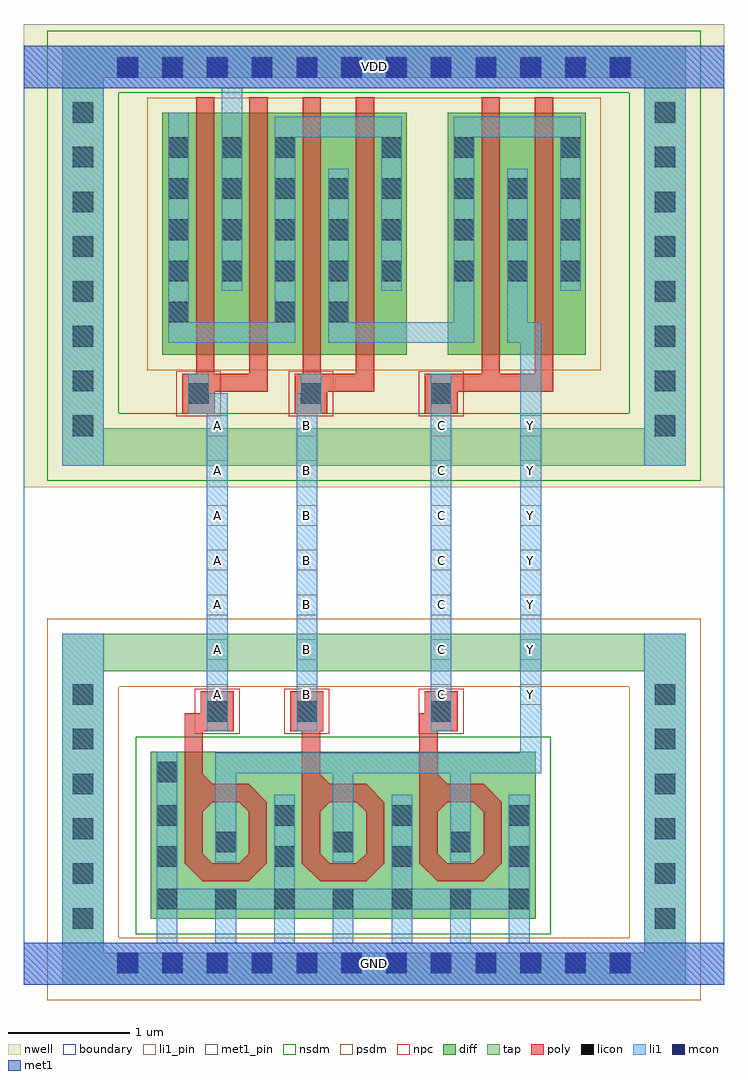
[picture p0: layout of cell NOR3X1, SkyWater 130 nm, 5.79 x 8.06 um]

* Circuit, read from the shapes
.subckt NOR3X1 A B C GND VDD Y
XM1 GND A Y GND sky130_fd_pr__nfet_01v8 w=2.56 l=0.1479
XM2 GND B Y GND sky130_fd_pr__nfet_01v8 w=2.56 l=0.148
XM3 GND C Y GND sky130_fd_pr__nfet_01v8 w=2.56 l=0.1446
XM4 VDD A n1 VDD sky130_fd_pr__pfet_01v8 w=2 l=0.15 m=2
XM5 n2 B n1 VDD sky130_fd_pr__pfet_01v8 w=2 l=0.15 m=2
XM6 Y C n2 VDD sky130_fd_pr__pfet_01v8 w=2 l=0.15 m=2
.ends

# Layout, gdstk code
from math import pi, radians
import gdstk
lib = gdstk.Library(unit=1e-6, precision=1e-09)
def R(c, l, rs):  # rectangles x0, y0, x1, y1
    for r in rs: c.add(gdstk.rectangle(r[:2], r[2:], *l))
def A(c, l, x, y, w, h, nx, ny, dx, dy):  # array of equal rectangles
    R(c, l, [(x+i*dx, y+j*dy, x+i*dx+w, y+j*dy+h) for i in range(nx) for j in range(ny)])
def P(c, l, *ps):  # polygons
    for p in ps: c.add(gdstk.Polygon(p, *l))
nwell = (64, 20)
diff = (65, 20)
tap = (65, 44)
poly = (66, 20)
licon = (66, 44)
li1_pin = (67, 16)
li1 = (67, 20)
mcon = (67, 44)
met1_pin = (68, 16)
met1 = (68, 20)
nsdm = (93, 44)
psdm = (94, 20)
npc = (95, 20)
boundary = (235, 4)

diff_ring_side = lib.new_cell('diff_ring_side')
R(diff_ring_side, nwell, [(-0.435,3.93,0.435,7.75)])
R(diff_ring_side, tap, [(-0.17,-0.17,0.17,2.72), (-0.17,4.11,0.17,7.57)])
A(diff_ring_side, licon, -0.085, 0.285, 0.17, 0.17, 1, 6, 0, 0.37)
A(diff_ring_side, licon, -0.085, 4.355, 0.17, 0.17, 1, 8, 0, 0.37)
R(diff_ring_side, li1, [(-0.17,-0.17,0.17,2.72), (-0.17,4.11,0.17,7.57)])
R(diff_ring_side, met1, [(-0.17,-0.17,0.17,0.17), (-0.17,7.23,0.17,7.57)])
R(diff_ring_side, nsdm, [(-0.295,3.985,0.295,7.695)])
R(diff_ring_side, psdm, [(-0.295,-0.295,0.295,2.845)])

nmos_top_trim1 = lib.new_cell('nmos_top_trim1')
R(nmos_top_trim1, diff, [(0,0,1.24,1.38)])
R(nmos_top_trim1, poly, [(0.43,0.31,0.81,0.46), (0.28,0.46,0.43,0.965), (0.81,0.46,0.96,0.965), (0.43,0.965,0.96,1.115), (0.81,1.115,0.96,1.545)])
P(nmos_top_trim1, poly, [(0.73,1.115),(0.81,1.115),(0.81,1.195)],
  [(0.28,0.965),(0.43,0.965),(0.43,1.115)],
  [(0.43,0.885),(0.43,0.965),(0.51,0.965)],
  [(0.73,0.965),(0.81,0.965),(0.81,0.885)],
  [(0.43,0.54),(0.43,0.46),(0.51,0.46)],
  [(0.73,0.46),(0.81,0.46),(0.81,0.54)],
  [(0.28,0.46),(0.43,0.46),(0.43,0.31)],
  [(0.81,0.31),(0.81,0.46),(0.96,0.46)])
A(nmos_top_trim1, licon, 0.05, 0.08, 0.17, 0.17, 3, 1, 0.485, 0)
R(nmos_top_trim1, licon, [(0.05,0.43,0.22,0.6), (1.02,0.43,1.19,0.6), (0.535,0.55,0.705,0.72), (0.05,0.77,0.22,0.94), (1.02,0.77,1.19,0.94), (1.02,1.13,1.19,1.3)])
R(nmos_top_trim1, li1, [(0.05,0,0.22,0.08), (1.02,0,1.19,0.08), (0.05,0.08,1.19,0.25), (0.05,0.25,0.22,1.02), (1.02,0.25,1.19,1.38), (0.535,0.47,0.705,0.805)])
R(nmos_top_trim1, nsdm, [(-0.125,-0.125,1.365,1.505)])

pmos2_1 = lib.new_cell('pmos2_1')
R(pmos2_1, nwell, [(0.26,-2.175,1.76,0.185)])
R(pmos2_1, diff, [(0.44,-1.995,1.58,0.005)])
R(pmos2_1, poly, [(0.72,-2.3,1.31,-2.15), (0.72,-2.15,0.87,0.135), (1.16,-2.15,1.31,0.135)])
A(pmos2_1, licon, 0.49, -1.385, 0.17, 0.17, 3, 3, 0.44, 0.34)
A(pmos2_1, li1, 0.49, -1.465, 0.17, 1.01, 3, 1, 0.44, 0)
R(pmos2_1, psdm, [(0.315,-2.12,1.705,0.13)])

poly_li1_contact = lib.new_cell('poly_li1_contact')
R(poly_li1_contact, poly, [(-0.16,-0.14,0.17,0.13)])
R(poly_li1_contact, licon, [(-0.08,-0.09,0.09,0.08)])
R(poly_li1_contact, li1, [(-0.16,-0.09,0.17,0.08)])
R(poly_li1_contact, npc, [(-0.18,-0.19,0.19,0.18)])

nmos_top_trim2 = lib.new_cell('nmos_top_trim2')
R(nmos_top_trim2, diff, [(0,0,1.24,1.38)])
R(nmos_top_trim2, poly, [(0.43,0.31,0.81,0.46), (0.28,0.46,0.43,0.89), (0.81,0.46,0.96,0.89), (0.28,0.89,0.435,0.965), (0.805,0.89,0.96,0.965), (0.43,0.965,0.96,1.115), (0.81,1.115,0.96,1.545)])
P(nmos_top_trim2, poly, [(0.73,1.115),(0.81,1.115),(0.81,1.195)],
  [(0.28,0.965),(0.43,0.965),(0.43,1.115)],
  [(0.435,0.89),(0.435,0.965),(0.51,0.965)],
  [(0.73,0.965),(0.805,0.965),(0.805,0.89)],
  [(0.43,0.54),(0.43,0.46),(0.51,0.46)],
  [(0.73,0.46),(0.81,0.46),(0.81,0.54)],
  [(0.28,0.46),(0.43,0.46),(0.43,0.31)],
  [(0.81,0.31),(0.81,0.46),(0.96,0.46)])
A(nmos_top_trim2, licon, 0.05, 0.08, 0.17, 0.17, 3, 1, 0.485, 0)
R(nmos_top_trim2, licon, [(0.05,0.43,0.22,0.6), (1.02,0.43,1.19,0.6), (0.535,0.55,0.705,0.72), (0.05,0.77,0.22,0.94), (1.02,0.77,1.19,0.94)])
R(nmos_top_trim2, li1, [(0.05,0,0.22,0.08), (1.02,0,1.19,0.08), (0.05,0.08,1.19,0.25), (0.05,0.25,0.22,1.025), (1.02,0.25,1.19,1.025), (0.535,0.47,0.705,0.805)])
R(nmos_top_trim2, nsdm, [(-0.125,-0.125,1.365,1.505)])

nor3x1_pcell = lib.new_cell('nor3x1_pcell')
R(nor3x1_pcell, nwell, [(0.435,3.93,4.765,7.75)])
A(nor3x1_pcell, diff, 0.705, 6.655, 0.17, 0.17, 3, 1, 0.44, 0)
R(nor3x1_pcell, diff, [(0.705,5.295,0.875,5.465), (1.585,5.295,1.755,5.465), (2.025,5.295,2.195,5.465), (2.465,6.655,2.635,6.825), (3.065,6.655,3.235,6.825), (3.945,6.655,4.115,6.825)])
R(nor3x1_pcell, tap, [(0.17,-0.17,4.64,0.085), (0.17,2.41,4.64,2.72), (0.17,4.11,4.64,4.42), (0.17,7.315,4.64,7.57)])
R(nor3x1_pcell, poly, [(0.84,1.875,0.99,2.065), (1.81,1.91,1.96,1.915), (2.78,1.91,2.93,2.065), (3.095,4.72,3.295,4.87)])
A(nor3x1_pcell, licon, 0.285, -0.085, 0.17, 0.17, 12, 2, 0.37, 7.4)
A(nor3x1_pcell, licon, 0.705, 6.655, 0.17, 0.17, 3, 1, 0.44, 0)
R(nor3x1_pcell, licon, [(0.705,5.295,0.875,5.465), (1.585,5.295,1.755,5.465), (2.025,5.295,2.195,5.465), (2.465,6.655,2.635,6.825), (3.065,6.655,3.235,6.825), (3.945,6.655,4.115,6.825)])
A(nor3x1_pcell, li1, 0.61, 0.17, 0.17, 0.195, 3, 1, 0.97, 0)
A(nor3x1_pcell, li1, 1.095, 0.17, 0.17, 0.275, 3, 1, 0.97, 0)
R(nor3x1_pcell, li1, [(0.17,-0.17,4.64,0.17), (3.52,0.17,3.69,0.445), (1.095,1.165,1.265,1.57), (2.065,1.165,2.235,1.57), (3.035,1.17,3.205,1.57), (1.095,1.57,3.785,1.74), (3.615,1.74,3.785,5.125), (2.875,2.095,3.045,4.54), (1.025,2.165,1.195,4.71), (1.765,2.165,1.785,2.205), (1.765,2.205,1.935,4.54), (1.765,4.54,1.805,4.71), (0.705,5.125,1.755,5.295), (2.025,5.125,3.235,5.295), (3.505,5.125,3.785,5.295), (0.705,5.295,0.875,5.555), (1.585,5.295,1.755,5.555), (2.025,5.295,2.195,5.555), (3.065,5.295,3.235,5.555), (3.505,5.295,3.675,5.555), (3.065,6.485,3.235,6.825), (3.945,6.485,4.115,6.825), (0.705,6.565,0.875,7.025), (1.145,6.565,1.315,7.23), (1.585,6.565,1.755,6.825), (2.465,6.565,2.635,6.825), (1.585,6.825,2.635,6.995), (3.065,6.825,4.115,6.995), (0.17,7.23,4.64,7.57)])
A(nor3x1_pcell, mcon, 0.285, -0.085, 0.17, 0.17, 12, 2, 0.37, 7.4)
R(nor3x1_pcell, met1, [(0.17,-0.17,4.64,0.17), (0.17,7.23,4.64,7.57)])
R(nor3x1_pcell, nsdm, [(0.045,3.985,4.765,4.545), (0.045,7.19,4.765,7.695)])
R(nor3x1_pcell, psdm, [(0.045,-0.295,4.765,0.21), (0.045,2.285,4.765,2.845), (2.8,4.9,2.89,6.53), (0.58,5.17,1,5.59), (1.46,5.17,2.32,5.59), (0.58,6.53,1.88,6.95), (2.34,6.53,3.36,6.95), (3.82,6.53,4.24,6.95), (2.8,6.95,2.89,7.15)])
nor3x1_pcell.add(gdstk.Reference(diff_ring_side, (0,0)))
nor3x1_pcell.add(gdstk.Reference(nmos_top_trim1, (1.8,0.365), rotation=pi, x_reflection=True))
nor3x1_pcell.add(gdstk.Reference(pmos2_1, (0.215,7.02)))
nor3x1_pcell.add(gdstk.Reference(poly_li1_contact, (0.96,4.71), rotation=3*pi/2))
nor3x1_pcell.add(gdstk.Reference(poly_li1_contact, (1.115,2.085), rotation=3*pi/2))
nor3x1_pcell.add(gdstk.Reference(nmos_top_trim2, (2.77,0.365), rotation=pi, x_reflection=True))
nor3x1_pcell.add(gdstk.Reference(nmos_top_trim2, (3.74,0.365), rotation=pi, x_reflection=True))
nor3x1_pcell.add(gdstk.Reference(pmos2_1, (1.095,7.02)))
nor3x1_pcell.add(gdstk.Reference(poly_li1_contact, (1.845,2.075), rotation=pi/2))
nor3x1_pcell.add(gdstk.Reference(poly_li1_contact, (1.89,4.71), rotation=3*pi/2))
nor3x1_pcell.add(gdstk.Reference(pmos2_1, (2.575,7.02)))
nor3x1_pcell.add(gdstk.Reference(poly_li1_contact, (2.955,2.075), rotation=pi/2))
nor3x1_pcell.add(gdstk.Reference(poly_li1_contact, (2.965,4.71), rotation=3*pi/2))
nor3x1_pcell.add(gdstk.Reference(diff_ring_side, (4.81,0)))

nor3x1 = lib.new_cell('NOR3X1')
R(nor3x1, nwell, [(0,4.11,5.79,7.94)])
R(nor3x1, tap, [(0.32,0,5.47,0.065), (0.32,7.75,5.47,7.76)])
A(nor3x1, li1_pin, 1.515, 2.315, 0.17, 0.17, 1, 7, 0, 0.37)
A(nor3x1, li1_pin, 2.255, 2.315, 0.17, 0.17, 1, 7, 0, 0.37)
A(nor3x1, li1_pin, 3.365, 2.315, 0.17, 0.17, 1, 7, 0, 0.37)
A(nor3x1, li1_pin, 4.105, 2.315, 0.17, 0.17, 1, 7, 0, 0.37)
A(nor3x1, li1, 1.515, 2.315, 0.17, 0.17, 1, 7, 0, 0.37)
A(nor3x1, li1, 2.255, 2.315, 0.17, 0.17, 1, 7, 0, 0.37)
A(nor3x1, li1, 3.365, 2.315, 0.17, 0.17, 1, 7, 0, 0.37)
A(nor3x1, li1, 4.105, 2.315, 0.17, 0.17, 1, 7, 0, 0.37)
R(nor3x1, li1, [(0,0,5.79,0.085), (0,0.085,0.44,0.35), (5.35,0.085,5.79,0.35), (0,7.41,0.39,7.675), (5.29,7.41,5.79,7.675), (0,7.675,5.79,7.76)])
R(nor3x1, met1_pin, [(0,0,5.79,0.35), (0,7.41,5.79,7.76)])
R(nor3x1, met1, [(0,0,5.79,0.35), (0,7.41,5.79,7.76)])
R(nor3x1, nsdm, [(0.195,7.625,5.595,7.885)])
R(nor3x1, psdm, [(0.195,-0.125,5.595,0.19)])
R(nor3x1, boundary, [(0,0,5.79,7.76)])
nor3x1.add(gdstk.Reference(nor3x1_pcell, (0.49,0.18)))
nor3x1.add(gdstk.Label('Y', (4.19,4.62), layer=67, texttype=5))
nor3x1.add(gdstk.Label('Y', (4.19,4.25), layer=67, texttype=5))
nor3x1.add(gdstk.Label('Y', (4.19,3.88), layer=67, texttype=5))
nor3x1.add(gdstk.Label('Y', (4.19,3.51), layer=67, texttype=5))
nor3x1.add(gdstk.Label('Y', (4.19,3.14), layer=67, texttype=5))
nor3x1.add(gdstk.Label('Y', (4.19,2.77), layer=67, texttype=5))
nor3x1.add(gdstk.Label('Y', (4.19,2.4), layer=67, texttype=5))
nor3x1.add(gdstk.Label('A', (1.6,4.62), layer=67, texttype=5))
nor3x1.add(gdstk.Label('A', (1.6,4.25), layer=67, texttype=5))
nor3x1.add(gdstk.Label('A', (1.6,3.88), layer=67, texttype=5))
nor3x1.add(gdstk.Label('A', (1.6,3.51), layer=67, texttype=5))
nor3x1.add(gdstk.Label('A', (1.6,3.14), layer=67, texttype=5))
nor3x1.add(gdstk.Label('A', (1.6,2.77), layer=67, texttype=5))
nor3x1.add(gdstk.Label('A', (1.6,2.4), layer=67, texttype=5))
nor3x1.add(gdstk.Label('B', (2.34,4.62), layer=67, texttype=5))
nor3x1.add(gdstk.Label('B', (2.34,4.25), layer=67, texttype=5))
nor3x1.add(gdstk.Label('B', (2.34,3.88), layer=67, texttype=5))
nor3x1.add(gdstk.Label('B', (2.34,3.51), layer=67, texttype=5))
nor3x1.add(gdstk.Label('B', (2.34,3.14), layer=67, texttype=5))
nor3x1.add(gdstk.Label('B', (2.34,2.77), layer=67, texttype=5))
nor3x1.add(gdstk.Label('B', (2.34,2.4), layer=67, texttype=5))
nor3x1.add(gdstk.Label('C', (3.45,4.62), layer=67, texttype=5))
nor3x1.add(gdstk.Label('C', (3.45,4.25), layer=67, texttype=5))
nor3x1.add(gdstk.Label('C', (3.45,3.88), layer=67, texttype=5))
nor3x1.add(gdstk.Label('C', (3.45,3.51), layer=67, texttype=5))
nor3x1.add(gdstk.Label('C', (3.45,3.14), layer=67, texttype=5))
nor3x1.add(gdstk.Label('C', (3.45,2.77), layer=67, texttype=5))
nor3x1.add(gdstk.Label('C', (3.45,2.4), layer=67, texttype=5))
nor3x1.add(gdstk.Label('VDD', (2.895,7.585), layer=68, texttype=5))
nor3x1.add(gdstk.Label('GND', (2.895,0.175), layer=68, texttype=5))

lib.write_gds('NOR3X1.gds')
